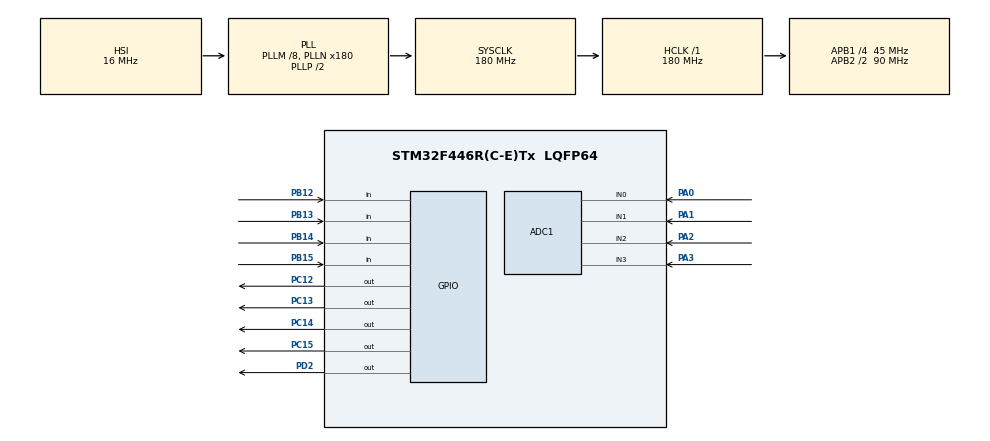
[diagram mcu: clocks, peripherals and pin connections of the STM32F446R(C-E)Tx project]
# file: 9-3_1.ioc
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ADC1.Channel-0\#ChannelRegularConversion=ADC_CHANNEL_0
ADC1.Channel-1\#ChannelRegularConversion=ADC_CHANNEL_1
ADC1.Channel-2\#ChannelRegularConversion=ADC_CHANNEL_2
ADC1.Channel-3\#ChannelRegularConversion=ADC_CHANNEL_3
ADC1.DMAContinuousRequests=ENABLE
ADC1.ExternalTrigConv=ADC_EXTERNALTRIGCONV_T8_TRGO
ADC1.NbrOfConversion=4
ADC1.NbrOfConversionFlag=1
ADC1.Rank-0\#ChannelRegularConversion=1
ADC1.Rank-1\#ChannelRegularConversion=2
ADC1.Rank-2\#ChannelRegularConversion=3
ADC1.Rank-3\#ChannelRegularConversion=4
ADC1.SamplingTime-0\#ChannelRegularConversion=ADC_SAMPLETIME_15CYCLES
ADC1.SamplingTime-1\#ChannelRegularConversion=ADC_SAMPLETIME_15CYCLES
ADC1.SamplingTime-2\#ChannelRegularConversion=ADC_SAMPLETIME_15CYCLES
ADC1.SamplingTime-3\#ChannelRegularConversion=ADC_SAMPLETIME_15CYCLES
ADC1.ScanConvMode=ENABLE
ADC1.master=1
Dma.ADC1.0.Direction=DMA_PERIPH_TO_MEMORY
Dma.ADC1.0.FIFOMode=DMA_FIFOMODE_DISABLE
Dma.ADC1.0.Instance=DMA2_Stream0
Dma.ADC1.0.MemDataAlignment=DMA_MDATAALIGN_WORD
Dma.ADC1.0.MemInc=DMA_MINC_ENABLE
Dma.ADC1.0.Mode=DMA_CIRCULAR
Dma.ADC1.0.PeriphDataAlignment=DMA_PDATAALIGN_WORD
Dma.ADC1.0.PeriphInc=DMA_PINC_DISABLE
Dma.ADC1.0.Priority=DMA_PRIORITY_LOW
Dma.Request0=ADC1
Mcu.Family=STM32F4
Mcu.Name=STM32F446R(C-E)Tx
Mcu.Package=LQFP64
NVIC.ADC_IRQn=true\:0\:0\:false\:false\:true\:true\:true\:true
NVIC.DMA2_Stream0_IRQn=true\:0\:0\:false\:false\:true\:false\:true\:true
NVIC.PriorityGroup=NVIC_PRIORITYGROUP_0
NVIC.TIM6_DAC_IRQn=true\:0\:0\:false\:false\:true\:true\:true\:true
NVIC.TIM8_UP_TIM13_IRQn=true\:0\:0\:false\:false\:true\:true\:true\:true
PA0-WKUP.Signal=ADCx_IN0
PA1.Signal=ADCx_IN1
PA2.Signal=ADCx_IN2
PA3.Signal=ADCx_IN3
PB12.Signal=GPIO_Input
PB13.Signal=GPIO_Input
PB14.Signal=GPIO_Input
PB15.Signal=GPIO_Input
PC12.Signal=GPIO_Output
PC13.Signal=GPIO_Output
PC14-OSC32_IN.Signal=GPIO_Output
PC15-OSC32_OUT.Signal=GPIO_Output
PD2.Signal=GPIO_Output
ProjectManager.HeapSize=0x200
ProjectManager.StackSize=0x400
ProjectManager.TargetToolchain=STM32CubeIDE
RCC.48MHZClocksFreq_Value=84000000
RCC.AHBFreq_Value=180000000
RCC.APB1CLKDivider=RCC_HCLK_DIV4
RCC.APB1Freq_Value=45000000
RCC.APB1TimFreq_Value=90000000
RCC.APB2CLKDivider=RCC_HCLK_DIV2
RCC.APB2Freq_Value=90000000
RCC.APB2TimFreq_Value=180000000
RCC.CortexFreq_Value=180000000
RCC.FLatency-AdvancedSettings=FLASH_LATENCY_5
RCC.HCLKFreq_Value=180000000
RCC.HSE_VALUE=16000000
RCC.HSI_VALUE=16000000
RCC.PLLM=8
RCC.PLLN=180
RCC.SYSCLKFreq_VALUE=180000000
RCC.SYSCLKSource=RCC_SYSCLKSOURCE_PLLCLK
RCC.USBFreq_Value=180000000
RCC.VCOOutputFreq_Value=360000000
SH.ADCx_IN0.0=ADC1_IN0,IN0
SH.ADCx_IN1.0=ADC1_IN1,IN1
SH.ADCx_IN2.0=ADC1_IN2,IN2
SH.ADCx_IN3.0=ADC1_IN3,IN3
TIM6.Period=5000-1
TIM6.Prescaler=4500-1
TIM8.Period=10000-1
TIM8.TIM_MasterOutputTrigger=TIM_TRGO_UPDATE
VP_TIM6_VS_ClockSourceINT.Mode=Enable_Timer
VP_TIM8_VS_ClockSourceINT.Mode=Internal
board=NUCLEO-F446RE

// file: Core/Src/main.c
/* USER CODE BEGIN Header */
/**
  ******************************************************************************
  * @file           : main.c
  * @brief          : Main program body
  ******************************************************************************
  * @attention
  *
  * Copyright (c) 2024 STMicroelectronics.
  * All rights reserved.
  *
  * This software is licensed under terms that can be found in the LICENSE file
  * in the root directory of this software component.
  * If no LICENSE file comes with this software, it is provided AS-IS.
  *
  ******************************************************************************
  */
/* USER CODE END Header */
#include "main.h"
#include "adc.h"
#include "dma.h"
#include "tim.h"
#include "gpio.h"

/* USER CODE BEGIN Includes */
int index=0;
/* USER CODE END Includes */

void SystemClock_Config(void);

int main(void)
{

  /* MCU Configuration--------------------------------------------------------*/

  /* Reset of all peripherals, Initializes the Flash interface and the Systick. */
  HAL_Init();

  /* Configure the system clock */
  SystemClock_Config();

  /* Initialize all configured peripherals */
  MX_GPIO_Init();
  MX_DMA_Init();
  MX_ADC1_Init();
  MX_TIM8_Init();
  MX_TIM6_Init();
  /* USER CODE BEGIN 2 */

  HAL_TIM_Base_Start_IT(&htim6);
  /* USER CODE END 2 */

  /* Infinite loop */
  while (1)
  {

  }
}

void SystemClock_Config(void)
{
  RCC_OscInitTypeDef RCC_OscInitStruct = {0};
  RCC_ClkInitTypeDef RCC_ClkInitStruct = {0};

  /** Configure the main internal regulator output voltage
  */
  __HAL_RCC_PWR_CLK_ENABLE();
  __HAL_PWR_VOLTAGESCALING_CONFIG(PWR_REGULATOR_VOLTAGE_SCALE1);

  /** Initializes the RCC Oscillators according to the specified parameters
  * in the RCC_OscInitTypeDef structure.
  */
  RCC_OscInitStruct.OscillatorType = RCC_OSCILLATORTYPE_HSI;
  RCC_OscInitStruct.HSIState = RCC_HSI_ON;
  RCC_OscInitStruct.HSICalibrationValue = RCC_HSICALIBRATION_DEFAULT;
  RCC_OscInitStruct.PLL.PLLState = RCC_PLL_ON;
  RCC_OscInitStruct.PLL.PLLSource = RCC_PLLSOURCE_HSI;
  RCC_OscInitStruct.PLL.PLLM = 8;
  RCC_OscInitStruct.PLL.PLLN = 180;
  RCC_OscInitStruct.PLL.PLLP = RCC_PLLP_DIV2;
  RCC_OscInitStruct.PLL.PLLQ = 2;
  RCC_OscInitStruct.PLL.PLLR = 2;
  if (HAL_RCC_OscConfig(&RCC_OscInitStruct) != HAL_OK)
  {
    Error_Handler();
  }

  /** Activate the Over-Drive mode
  */
  if (HAL_PWREx_EnableOverDrive() != HAL_OK)
  {
    Error_Handler();
  }

  /** Initializes the CPU, AHB and APB buses clocks
  */
  RCC_ClkInitStruct.ClockType = RCC_CLOCKTYPE_HCLK|RCC_CLOCKTYPE_SYSCLK
                              |RCC_CLOCKTYPE_PCLK1|RCC_CLOCKTYPE_PCLK2;
  RCC_ClkInitStruct.SYSCLKSource = RCC_SYSCLKSOURCE_PLLCLK;
  RCC_ClkInitStruct.AHBCLKDivider = RCC_SYSCLK_DIV1;
  RCC_ClkInitStruct.APB1CLKDivider = RCC_HCLK_DIV4;
  RCC_ClkInitStruct.APB2CLKDivider = RCC_HCLK_DIV2;

  if (HAL_RCC_ClockConfig(&RCC_ClkInitStruct, FLASH_LATENCY_5) != HAL_OK)
  {
    Error_Handler();
  }
}

/* USER CODE BEGIN 4 */
void HAL_TIM_PeriodElapsedCallback(TIM_HandleTypeDef *htim)
{
	if(htim->Instance == TIM6)
	{
		index++;
		if(index == 2)
		{
			HAL_GPIO_TogglePin(GPIOD, GPIO_PIN_2);
			index = 0;
		}
			  if(HAL_GPIO_ReadPin(GPIOB, GPIO_PIN_12) == 1)
			  {
				  HAL_GPIO_TogglePin(GPIOC, GPIO_PIN_12);
			  }
			  else
			  {
				  HAL_GPIO_WritePin(GPIOC, GPIO_PIN_12, SET);
			  }
			  if(HAL_GPIO_ReadPin(GPIOB, GPIO_PIN_13) == 1)
			  	  {
			  		  HAL_GPIO_TogglePin(GPIOC, GPIO_PIN_13);
			  	  }
			  else
			  {
				  HAL_GPIO_WritePin(GPIOC, GPIO_PIN_13, SET);
			  }
			  if(HAL_GPIO_ReadPin(GPIOB, GPIO_PIN_14) == 1)
			  	  {
			  		  HAL_GPIO_TogglePin(GPIOC, GPIO_PIN_14);
			  	  }
			  else
			  {
				  HAL_GPIO_WritePin(GPIOC, GPIO_PIN_14, SET);
			  }
			  if(HAL_GPIO_ReadPin(GPIOB, GPIO_PIN_15) == 1)
			  	  {
			  		  HAL_GPIO_TogglePin(GPIOC, GPIO_PIN_15);
			  	  }
			  else
			  {
				  HAL_GPIO_WritePin(GPIOC, GPIO_PIN_15, SET);
			  }
	}
}
/* USER CODE END 4 */

void Error_Handler(void)
{
  __disable_irq();
  while (1)
  {
  }
}
